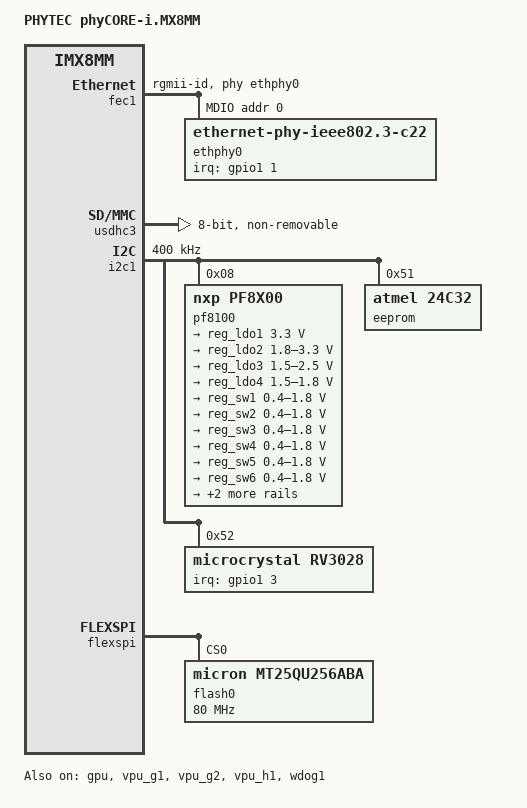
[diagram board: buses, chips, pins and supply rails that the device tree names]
// SPDX-License-Identifier: GPL-2.0
/*
 * Copyright (C) 2019 PHYTEC Messtechnik GmbH
 * Author: Teresa Remmet <t.remmet@phytec.de>
 */

#include "fsl-imx8mm.dtsi"
#include <dt-bindings/net/ti-dp83867.h>


/ {
	model = "PHYTEC phyCORE-i.MX8MM";
	compatible = "phytec,i.mx8mm-phycore-som", "fsl,imx8mm";

	chosen {
		bootargs = "console=ttymxc2,115200 earlycon=ec_imx6q,0x30880000,115200";
		stdout-path = &uart3;
	};
};

&A53_0 {
	arm-supply = <&reg_sw5>;
};

/* Ethernet */
&fec1 {
	pinctrl-names = "default";
	pinctrl-0 = <&pinctrl_fec1>;
	phy-mode = "rgmii-id";
	phy-handle = <&ethphy0>;
	fsl,magic-packet;
	status = "okay";

	mdio {
		#address-cells = <1>;
		#size-cells = <0>;

		ethphy0: ethernet-phy@0 {
			compatible = "ethernet-phy-ieee802.3-c22";
			reg = <0>;
			interrupt-parent = <&gpio1>;
			interrupts = <1 IRQ_TYPE_EDGE_FALLING>;
			ti,rx-internal-delay = <DP83867_RGMIIDCTL_2_00_NS>;
			ti,tx-internal-delay = <DP83867_RGMIIDCTL_2_00_NS>;
			ti,fifo-depth = <DP83867_PHYCR_FIFO_DEPTH_4_B_NIB>;
			ti,clk-output-sel = <DP83867_CLK_O_SEL_OFF>;
			enet-phy-lane-no-swap;
		};
	};
};

/* EMMC */
&usdhc3 {
	vqmmc-supply = <&reg_sw6>;
	pinctrl-names = "default", "state_100mhz", "state_200mhz";
	pinctrl-0 = <&pinctrl_usdhc3>;
	pinctrl-1 = <&pinctrl_usdhc3_100mhz>;
	pinctrl-2 = <&pinctrl_usdhc3_200mhz>;
	bus-width = <8>;
	non-removable;
	status = "okay";
};

/* GPU */
&gpu {
	status = "okay";
};

/* I2C1 */
&i2c1 {
	clock-frequency = <400000>;
	pinctrl-names = "default";
	pinctrl-0 = <&pinctrl_i2c1>;
	status = "okay";

	i2c1_sn65dsi83: sn65dsi83@2d {
		compatible = "ti,sn65dsi83";
		pinctrl-names = "default";
		pinctrl-0 = <&pinctrl_i2c1_sn65dsi83>;
		enable-gpios = <&gpio1 10 GPIO_ACTIVE_LOW>;
		reg = <0x2d>;
		lanes_in = <4>;
		status = "disabled";

		ports {
			#address-cells = <1>;
			#size-cells = <0>;

			sn65dsi83_port0: port@0 {
				reg = <0>;
			};

			sn65dsi83_port1: port@1 {
				reg = <1>;
			};
		};
	};

	pf8100@08 {
		compatible = "nxp,pf8x00";
		pinctrl-names = "default";
		reg = <0x08>;

		regulators {
			reg_ldo1: ldo1 {
				regulator-always-on;
				regulator-boot-on;
				regulator-max-microvolt = <3300000>;
				regulator-min-microvolt = <3300000>;
			};

			reg_ldo2: ldo2 {
				regulator-always-on;
				regulator-boot-on;
				regulator-max-microvolt = <3300000>;
				regulator-min-microvolt = <1800000>;
				vselect-en;
			};

			reg_ldo3: ldo3 {
				regulator-always-on;
				regulator-boot-on;
				regulator-max-microvolt = <2500000>;
				regulator-min-microvolt = <1500000>;
			};

			reg_ldo4: ldo4 {
				regulator-always-on;
				regulator-boot-on;
				regulator-max-microvolt = <1800000>;
				regulator-min-microvolt = <1500000>;
			};

			reg_sw1: sw1 {
				regulator-always-on;
				regulator-boot-on;
				regulator-max-microvolt = <1800000>;
				regulator-min-microvolt = <400000>;
			};

			reg_sw2: sw2 {
				regulator-always-on;
				regulator-boot-on;
				regulator-max-microvolt = <1800000>;
				regulator-min-microvolt = <400000>;
			};

			reg_sw3: sw3 {
				regulator-always-on;
				regulator-boot-on;
				regulator-max-microvolt = <1800000>;
				regulator-min-microvolt = <400000>;
			};

			reg_sw4: sw4 {
				regulator-always-on;
				regulator-boot-on;
				regulator-max-microvolt = <1800000>;
				regulator-min-microvolt = <400000>;
			};

			reg_sw5: sw5 {
				regulator-always-on;
				regulator-boot-on;
				regulator-max-microvolt = <1800000>;
				regulator-min-microvolt = <400000>;
			};

			reg_sw6: sw6 {
				regulator-always-on;
				regulator-boot-on;
				regulator-max-microvolt = <1800000>;
				regulator-min-microvolt = <400000>;
			};

			reg_sw7: sw7 {
				regulator-always-on;
				regulator-boot-on;
				regulator-max-microvolt = <4100000>;
				regulator-min-microvolt = <1000000>;
			};

			reg_vsnvs: vsnvs {
				regulator-always-on;
				regulator-boot-on;
				regulator-max-microvolt = <1800000>;
				regulator-min-microvolt = <1800000>;
			};
		};
	};

	eeprom: m24c32@51 {
		compatible = "atmel,24c32";
		reg = <0x51>;
		status = "okay";
	};

	rv3028: rv3028@52 {
		pinctrl-names = "default";
		pinctrl-0 = <&pinctrl_rtc>;
		compatible = "microcrystal,rv3028";
		reg = <0x52>;
		interrupt-parent = <&gpio1>;
		interrupts = <3 IRQ_TYPE_LEVEL_LOW>;
		wakeup-source;
		trickle-resistor-ohms = <1000>; /* maps to 3 kOhm setting */
		enable-level-switching-mode;
	};
};

/* SPI Flash */
&flexspi {
	pinctrl-names = "default";
	pinctrl-0 = <&pinctrl_flexspi0>;
	status = "okay";

	flash0: mt25qu256aba@0 {
		reg = <0>;
		#address-cells = <1>;
		#size-cells = <1>;
		compatible = "micron,mt25qu256aba";
		spi-max-frequency = <80000000>;
		spi-nor,ddr-quad-read-dummy = <6>;
	};
};

/* VPU */
&vpu_g1 {
	status = "okay";
};

&vpu_g2 {
	status = "okay";
};

&vpu_h1 {
	status = "okay";
};

/* Watchdog */
&wdog1 {
	pinctrl-names = "default";
	pinctrl-0 = <&pinctrl_wdog>;
	fsl,ext-reset-output;
	status = "okay";
};

&iomuxc {
	pinctrl-names = "default";

	imx8mm-phycore {

		pinctrl_fec1: fec1grp {
			fsl,pins = <
				MX8MM_IOMUXC_ENET_MDC_ENET1_MDC		0x3
				MX8MM_IOMUXC_ENET_MDIO_ENET1_MDIO	0x3
				MX8MM_IOMUXC_ENET_TD3_ENET1_RGMII_TD3	0x1f
				MX8MM_IOMUXC_ENET_TD2_ENET1_RGMII_TD2	0x1f
				MX8MM_IOMUXC_ENET_TD1_ENET1_RGMII_TD1	0x1f
				MX8MM_IOMUXC_ENET_TD0_ENET1_RGMII_TD0	0x1f
				MX8MM_IOMUXC_ENET_RD3_ENET1_RGMII_RD3	0x91
				MX8MM_IOMUXC_ENET_RD2_ENET1_RGMII_RD2	0x91
				MX8MM_IOMUXC_ENET_RD1_ENET1_RGMII_RD1	0x91
				MX8MM_IOMUXC_ENET_RD0_ENET1_RGMII_RD0	0x91
				MX8MM_IOMUXC_ENET_TXC_ENET1_RGMII_TXC	0x1f
				MX8MM_IOMUXC_ENET_RXC_ENET1_RGMII_RXC	0x91
				MX8MM_IOMUXC_ENET_RX_CTL_ENET1_RGMII_RX_CTL	0x91
				MX8MM_IOMUXC_ENET_TX_CTL_ENET1_RGMII_TX_CTL	0x1f
				MX8MM_IOMUXC_GPIO1_IO07_GPIO1_IO7		0x19
				MX8MM_IOMUXC_GPIO1_IO01_GPIO1_IO1		0x19
			>;
		};

		pinctrl_flexspi0: flexspi0grp {
			fsl,pins = <
				MX8MM_IOMUXC_NAND_ALE_QSPI_A_SCLK		0x1c2
				MX8MM_IOMUXC_NAND_CE0_B_QSPI_A_SS0_B		0x82
				MX8MM_IOMUXC_NAND_DATA00_QSPI_A_DATA0		0x82
				MX8MM_IOMUXC_NAND_DATA01_QSPI_A_DATA1		0x82
				MX8MM_IOMUXC_NAND_DATA02_QSPI_A_DATA2		0x82
				MX8MM_IOMUXC_NAND_DATA03_QSPI_A_DATA3		0x82
			>;
		};

		pinctrl_i2c1: i2c1grp {
			fsl,pins = <
				MX8MM_IOMUXC_I2C1_SCL_I2C1_SCL			0x400001c3
				MX8MM_IOMUXC_I2C1_SDA_I2C1_SDA			0x400001c3
			>;
		};

		pinctrl_rtc: rtcgrp {
			fsl,pins = <
				MX8MM_IOMUXC_GPIO1_IO03_GPIO1_IO3	0x1C0
			>;
		};

		pinctrl_i2c1_sn65dsi83: sn65dsi83_i2c1_grp {
			fsl,pins = <
				MX8MM_IOMUXC_GPIO1_IO10_GPIO1_IO10	0x0
			>;
		};

		pinctrl_usdhc3: usdhc3grp {
			fsl,pins = <
				MX8MM_IOMUXC_NAND_WE_B_USDHC3_CLK		0x190
				MX8MM_IOMUXC_NAND_WP_B_USDHC3_CMD		0x1d0
				MX8MM_IOMUXC_NAND_DATA04_USDHC3_DATA0		0x1d0
				MX8MM_IOMUXC_NAND_DATA05_USDHC3_DATA1		0x1d0
				MX8MM_IOMUXC_NAND_DATA06_USDHC3_DATA2		0x1d0
				MX8MM_IOMUXC_NAND_DATA07_USDHC3_DATA3		0x1d0
				MX8MM_IOMUXC_NAND_RE_B_USDHC3_DATA4		0x1d0
				MX8MM_IOMUXC_NAND_CE2_B_USDHC3_DATA5		0x1d0
				MX8MM_IOMUXC_NAND_CE3_B_USDHC3_DATA6		0x1d0
				MX8MM_IOMUXC_NAND_CLE_USDHC3_DATA7		0x1d0
				MX8MM_IOMUXC_NAND_CE1_B_USDHC3_STROBE 		0x190
			>;
		};

		pinctrl_usdhc3_100mhz: usdhc3grp100mhz {
			fsl,pins = <
				MX8MM_IOMUXC_NAND_WE_B_USDHC3_CLK		0x194
				MX8MM_IOMUXC_NAND_WP_B_USDHC3_CMD		0x1d4
				MX8MM_IOMUXC_NAND_DATA04_USDHC3_DATA0		0x1d4
				MX8MM_IOMUXC_NAND_DATA05_USDHC3_DATA1		0x1d4
				MX8MM_IOMUXC_NAND_DATA06_USDHC3_DATA2		0x1d4
				MX8MM_IOMUXC_NAND_DATA07_USDHC3_DATA3		0x1d4
				MX8MM_IOMUXC_NAND_RE_B_USDHC3_DATA4		0x1d4
				MX8MM_IOMUXC_NAND_CE2_B_USDHC3_DATA5		0x1d4
				MX8MM_IOMUXC_NAND_CE3_B_USDHC3_DATA6		0x1d4
				MX8MM_IOMUXC_NAND_CLE_USDHC3_DATA7		0x1d4
				MX8MM_IOMUXC_NAND_CE1_B_USDHC3_STROBE 		0x194
			>;
		};

		pinctrl_usdhc3_200mhz: usdhc3grp200mhz {
			fsl,pins = <
				MX8MM_IOMUXC_NAND_WE_B_USDHC3_CLK		0x196
				MX8MM_IOMUXC_NAND_WP_B_USDHC3_CMD		0x1d6
				MX8MM_IOMUXC_NAND_DATA04_USDHC3_DATA0		0x1d6
				MX8MM_IOMUXC_NAND_DATA05_USDHC3_DATA1		0x1d6
				MX8MM_IOMUXC_NAND_DATA06_USDHC3_DATA2		0x1d6
				MX8MM_IOMUXC_NAND_DATA07_USDHC3_DATA3		0x1d6
				MX8MM_IOMUXC_NAND_RE_B_USDHC3_DATA4		0x1d6
				MX8MM_IOMUXC_NAND_CE2_B_USDHC3_DATA5		0x1d6
				MX8MM_IOMUXC_NAND_CE3_B_USDHC3_DATA6		0x1d6
				MX8MM_IOMUXC_NAND_CLE_USDHC3_DATA7		0x1d6
				MX8MM_IOMUXC_NAND_CE1_B_USDHC3_STROBE 		0x196
			>;
		};

		pinctrl_wdog: wdoggrp {
			fsl,pins = <
				MX8MM_IOMUXC_GPIO1_IO02_WDOG1_WDOG_B		0x26
			>;
		};
	};
};
